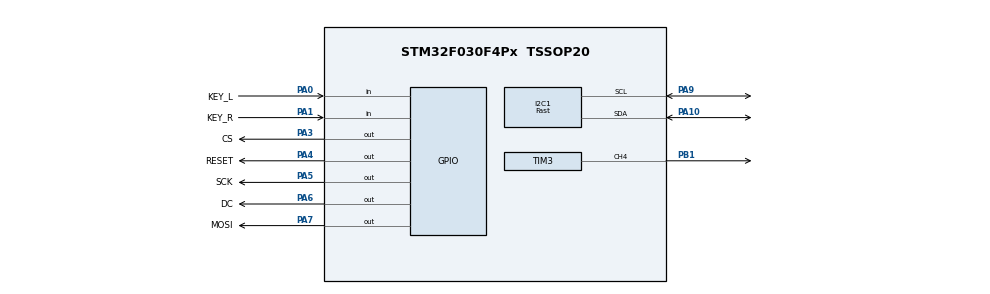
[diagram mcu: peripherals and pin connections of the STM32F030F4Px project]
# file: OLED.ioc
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I2C1.I2C_Speed_Mode=I2C_Fast
I2C1.OwnAddress=0x3D<<1
I2C1.Timing=0x0000020B
Mcu.Family=STM32F0
Mcu.Name=STM32F030F4Px
Mcu.Package=TSSOP20
NVIC.I2C1_IRQn=true\:0\:0\:false\:false\:true\:true\:true\:true
PA0.GPIO_Label=KEY_L
PA0.Signal=GPIO_Input
PA1.GPIO_Label=KEY_R
PA1.Signal=GPIO_Input
PA10.Mode=I2C
PA10.Signal=I2C1_SDA
PA13.Mode=Serial_Wire
PA13.Signal=SYS_SWDIO
PA14.Mode=Serial_Wire
PA14.Signal=SYS_SWCLK
PA3.GPIO_Label=CS
PA3.Signal=GPIO_Output
PA4.GPIO_Label=RESET
PA4.GPIO_Speed=GPIO_SPEED_FREQ_HIGH
PA4.Signal=GPIO_Output
PA5.GPIO_Label=SCK
PA5.GPIO_Speed=GPIO_SPEED_FREQ_HIGH
PA5.Signal=GPIO_Output
PA6.GPIO_Label=DC
PA6.GPIO_Speed=GPIO_SPEED_FREQ_HIGH
PA6.Signal=GPIO_Output
PA7.GPIO_Label=MOSI
PA7.GPIO_Speed=GPIO_SPEED_FREQ_HIGH
PA7.Signal=GPIO_Output
PA9.Mode=I2C
PA9.Signal=I2C1_SCL
PB1.Signal=S_TIM3_CH4
ProjectManager.HeapSize=0x200
ProjectManager.StackSize=0x400
ProjectManager.TargetToolchain=MDK-ARM V5
RCC.AHBFreq_Value=48000000
RCC.APB1Freq_Value=48000000
RCC.APB1TimFreq_Value=48000000
RCC.HCLKFreq_Value=48000000
RCC.PLLMUL=RCC_PLL_MUL12
RCC.SYSCLKFreq_VALUE=48000000
RCC.SYSCLKSource=RCC_SYSCLKSOURCE_PLLCLK
SH.S_TIM3_CH4.0=TIM3_CH4,PWM Generation4 CH4
TIM3.AutoReloadPreload=TIM_AUTORELOAD_PRELOAD_ENABLE
TIM3.Channel-PWM\ Generation4\ CH4=TIM_CHANNEL_4
TIM3.Period=250
TIM3.Prescaler=48-1
board=custom

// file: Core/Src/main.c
/* USER CODE BEGIN Header */
/**
  ******************************************************************************
  * @file           : main.c
  * @brief          : Main program body
  ******************************************************************************
  * @attention
  *
  * Copyright (c) 2022 STMicroelectronics.
  * All rights reserved.
  *
  * This software is licensed under terms that can be found in the LICENSE file
  * in the root directory of this software component.
  * If no LICENSE file comes with this software, it is provided AS-IS.
  *
  ******************************************************************************
  */
/* USER CODE END Header */
#include "main.h"

/* USER CODE BEGIN Includes */
#include "i2c_ex.h"
#include "oled.h"
#include <string.h>
/* USER CODE END Includes */

/* USER CODE BEGIN PTD */
typedef struct {
  uint8_t pos_x;      // stack space top
  uint8_t pos_y;    // stack space limit
  uint8_t size;          // current stack pointer
  uint8_t mode;          // current stack pointer
} draw_text_option_t;
typedef struct {
  uint8_t pos_x;      // stack space top
  uint8_t pos_y;    // stack space limit
  uint8_t mode;          // current stack pointer
} draw_point_option_t;
typedef struct {
  uint8_t pos_x1;      // stack space top
  uint8_t pos_y1;    // stack space limit
  uint8_t pos_x2;
  uint8_t pos_y2;
  uint8_t mode;          // current stack pointer
} draw_line_option_t;
typedef struct {
  uint8_t pos_x;      // stack space top
  uint8_t pos_y;    // stack space limit
  uint8_t radius;          // current stack pointer
  uint8_t mode;          // current stack pointer
} draw_circle_option_t;
typedef struct {
  uint8_t pos_x;      // stack space top
  uint8_t pos_y;    // stack space limit
  uint8_t size_x;      // stack space top
  uint8_t size_y;    // stack space limit
  uint8_t mode;          // current stack pointer
} draw_picture_option_t;
/* USER CODE END PTD */

/* USER CODE BEGIN PD */
#define FIRMWARE_VERSION 3
#define BUTTON_FILTER 500
#define BUTTON_FILTER_TIMEROUT BUTTON_FILTER*3
#define APPLICATION_ADDRESS     ((uint32_t)0x08001000)
/* USER CODE END PD */

I2C_HandleTypeDef hi2c1;

/* USER CODE BEGIN PV */
volatile uint8_t fm_version = FIRMWARE_VERSION;
draw_text_option_t draw_text_para;
draw_point_option_t draw_point_para;
draw_line_option_t draw_line_para;
draw_circle_option_t draw_circle_para;
draw_picture_option_t draw_picture_para;
uint8_t invert_status = 0;
uint8_t color_invert_status = 0;
uint8_t display_on_off_status = 1;
uint8_t string_buffer[64] = {0};
uint8_t picture_buffer[1088] = {0};
uint8_t oled_clear_flag = 0;
uint8_t oled_show_flag = 0;
uint8_t oled_set_string_flag = 0;
//buzz mannual control
volatile uint16_t buzz_freq = 0;
volatile uint8_t buzz_duty = 0;
volatile uint8_t buzz_manual_flag = 0;
volatile uint8_t buzz_enable = 0;

volatile uint8_t key_l_status = 0;
volatile uint8_t key_r_status = 0;
/* USER CODE END PV */

void SystemClock_Config(void);
static void MX_GPIO_Init(void);
static void MX_I2C1_Init(void);
static void MX_TIM3_Init(void);

/* USER CODE BEGIN 0 */
void IAP_Set()
{
	uint8_t i;

	uint32_t *pVecTab=(uint32_t *)(0x20000000);
	//复制中断向量表到SRAM首地址
	for(i = 0; i < 48; i++)
	{
		*(pVecTab++) = *(__IO uint32_t*)(APPLICATION_ADDRESS + (i<<2));
	}
  /* Enable the SYSCFG peripheral clock*/
#if 1 //STM32
  __HAL_RCC_SYSCFG_CLK_ENABLE();
  //重映射 SRAM 地址到 0x00000000
  __HAL_SYSCFG_REMAPMEMORY_SRAM();
#else //AMP32
    RCM_EnableAPB2PeriphClock(RCM_APB2_PERIPH_SYSCFG);
    /* Remap SRAM at 0x00000000 */
    SYSCFG->CFG1_B.MMSEL = SYSCFG_MemoryRemap_SRAM;
#endif
}

uint8_t read_button_status(uint16_t pin)
{
  uint8_t button_status = 0;
  uint8_t last_button_status = 0;
  uint16_t counter = 0;

  last_button_status = HAL_GPIO_ReadPin(GPIOA,pin);
  for (uint16_t i = 0; i < BUTTON_FILTER_TIMEROUT; i++) {
    button_status = HAL_GPIO_ReadPin(GPIOA,pin);
    if (button_status == last_button_status) {
      counter++;
    }
    else {
      last_button_status = button_status;
      counter = 0;
    }
    if (counter >= BUTTON_FILTER) {
      return button_status;
    }
  }
  //TODO: Just for debug
  return 1;
}

void set_pwm(uint16_t freq, uint8_t duty)
{
  if (freq > 10000)
    return;
  uint32_t period, pulse;
  period = 1000000 / freq;
  pulse = (uint32_t)((float)duty/255.0f*period);
  LL_TIM_SetAutoReload(TIM3, period);
  LL_TIM_OC_SetCompareCH4(TIM3, pulse);
  // user_tim3_init(period, pulse);
}

void i2c1_receive_callback(uint8_t *rx_data, uint16_t len)
{
  uint8_t rx_buf[16];
  uint8_t tx_buf[16];
  uint8_t rx_mark[16] = {0};
  uint16_t buffer_index = 0;

  if (len > 1) {
    if (rx_data[0] == 0x00) {
      if ((rx_data[1] & 1) == 1) {
        oled_clear_flag = 1;
      }
    }
    else if (rx_data[0] == 0x10) {
      if ((rx_data[1] & 1) == 1) {
        oled_show_flag = 1;
      }
    }
    else if ((rx_data[0] >= 0x20) && (rx_data[0] <= 0x23)) {
      for(int i = 0; i < len - 1; i++) {
        rx_buf[rx_data[0]-0x20+i] = rx_data[1+i];
        rx_mark[rx_data[0]-0x20+i] = 1;
      }
      if (rx_mark[0]) {
        draw_text_para.pos_x = rx_buf[0];
      }
      if (rx_mark[1]) {
        draw_text_para.pos_y = rx_buf[1];
      }
      if (rx_mark[2]) {
        draw_text_para.size = rx_buf[2];
      }
      if (rx_mark[3]) {
        draw_text_para.mode = rx_buf[3];
      }
      oled_set_string_flag = 1;
    }
    else if ((rx_data[0] >= 0x30) && (rx_data[0] <= 0x32)) {
      for(int i = 0; i < len - 1; i++) {
        rx_buf[rx_data[0]-0x30+i] = rx_data[1+i];
        rx_mark[rx_data[0]-0x30+i] = 1;
      }
      if (rx_mark[0]) {
        draw_point_para.pos_x = rx_buf[0];
      }
      if (rx_mark[1]) {
        draw_point_para.pos_y = rx_buf[1];
      }
      if (rx_mark[2]) {
        draw_point_para.mode = rx_buf[2];
      }
      OLED_DrawPoint(draw_point_para.pos_x, draw_point_para.pos_y, draw_point_para.mode);
    }
    else if ((rx_data[0] >= 0x40) && (rx_data[0] <= 0x44)) {
      for(int i = 0; i < len - 1; i++) {
        rx_buf[rx_data[0]-0x40+i] = rx_data[1+i];
        rx_mark[rx_data[0]-0x40+i] = 1;
      }
      if (rx_mark[0]) {
        draw_line_para.pos_x1 = rx_buf[0];
      }
      if (rx_mark[1]) {
        draw_line_para.pos_y1 = rx_buf[1];
      }
      if (rx_mark[2]) {
        draw_line_para.pos_x2 = rx_buf[2];
      }
      if (rx_mark[3]) {
        draw_line_para.pos_y2 = rx_buf[3];
      }
      if (rx_mark[4]) {
        draw_line_para.mode = rx_buf[4];
      }
      OLED_DrawLine(draw_line_para.pos_x1, draw_line_para.pos_y1,
      draw_line_para.pos_x2, draw_line_para.pos_y2, draw_line_para.mode);
    }
    else if ((rx_data[0] >= 0x50) && (rx_data[0] <= 0x53)) {
      for(int i = 0; i < len - 1; i++) {
        rx_buf[rx_data[0]-0x50+i] = rx_data[1+i];
        rx_mark[rx_data[0]-0x50+i] = 1;
      }
      if (rx_mark[0]) {
        draw_circle_para.pos_x = rx_buf[0];
      }
      if (rx_mark[1]) {
        draw_circle_para.pos_y = rx_buf[1];
      }
      if (rx_mark[2]) {
        draw_circle_para.radius = rx_buf[2];
      }
      if (rx_mark[3]) {
        if (rx_buf[3])
          draw_circle_para.mode = 1;
        else
          draw_circle_para.mode = 0;
      }
      OLED_DrawCircle(draw_circle_para.pos_x, draw_circle_para.pos_y, draw_circle_para.radius, draw_circle_para.mode);
    }
    else if (rx_data[0] == 0x60) {
      if (rx_data[1] <= 3) {
        invert_status = rx_data[1];
        OLED_DisplayTurn(invert_status);
      }
    }
    else if (rx_data[0] == 0x70) {
      if ((rx_data[1] & 1) == 1) {
        display_on_off_status = 1;
        OLED_DisPlay_On();
      } else {
        display_on_off_status = 0;
        OLED_DisPlay_Off();
      }
    }
    else if ((rx_data[0] >= 0x80) && (rx_data[0] <= 0x82)) {
      for(int i = 0; i < len - 1; i++) {
        rx_buf[rx_data[0]-0x80+i] = rx_data[1+i];
        rx_mark[rx_data[0]-0x80+i] = 1;
      }
      if (rx_mark[0] && rx_mark[1]) {
        buffer_index = (rx_buf[0] | (rx_buf[1] << 8));
      }
      if (buffer_index == 0) {
        memset(string_buffer, 0, sizeof(string_buffer));
      }
      if (rx_mark[2]) {
        if (buffer_index < 64) {
          string_buffer[buffer_index] = rx_buf[2];
        }
      }
    }
    else if ((rx_data[0] >= 0x90) && (rx_data[0] <= 0x92)) {
      for(int i = 0; i < len - 1; i++) {
        rx_buf[rx_data[0]-0x90+i] = rx_data[1+i];
        rx_mark[rx_data[0]-0x90+i] = 1;
      }
      if (rx_mark[0] && rx_mark[1]) {
        buffer_index = (rx_buf[0] | (rx_buf[1] << 8));
      }
      if (buffer_index == 0) {
        memset(picture_buffer, 0, sizeof(picture_buffer));
      }
      if (rx_mark[2]) {
        if (buffer_index < 1088) {
          picture_buffer[buffer_index] = rx_buf[2];
        }
      }
    }
    else if (rx_data[0] == 0xA0) {
      if ((rx_data[1] & 1) == 1) {
        color_invert_status = 1;
        OLED_ColorTurn(1);
      } else {
        color_invert_status = 0;
        OLED_ColorTurn(0);
      }
    }
    else if ((rx_data[0] >= 0xB0) && (rx_data[0] <= 0xB4)) {
      for(int i = 0; i < len - 1; i++) {
        rx_buf[rx_data[0]-0xB0+i] = rx_data[1+i];
        rx_mark[rx_data[0]-0xB0+i] = 1;
      }
      if (rx_mark[0]) {
        draw_picture_para.pos_x = rx_buf[0];
      }
      if (rx_mark[1]) {
        draw_picture_para.pos_y = rx_buf[1];
      }
      if (rx_mark[2]) {
        draw_picture_para.size_x = rx_buf[2];
      }
      if (rx_mark[3]) {
        draw_picture_para.size_y = rx_buf[3];
      }
      if (rx_mark[4]) {
        draw_picture_para.mode = rx_buf[4];
      }
      OLED_ShowPicture(draw_picture_para.pos_x, draw_picture_para.pos_y,
      draw_picture_para.size_x, draw_picture_para.size_y, picture_buffer, draw_picture_para.mode);
    }
    else if ((rx_data[0] >= 0xC0) && (rx_data[0] <= 0xC3))
    {
      if (len <= 5) {
        for(int i = 0; i < len - 1; i++) {
          rx_buf[rx_data[0]-0xC0+i] = rx_data[1+i];
          rx_mark[rx_data[0]-0xC0+i] = 1;
        }
        if (rx_mark[0] && rx_mark[1]) {
          buzz_freq = (rx_buf[0] | (rx_buf[1] << 8));
        }
        if (rx_mark[2]) {
          buzz_duty = rx_buf[2];
        }
        if (rx_mark[3]) {

          buzz_enable = rx_buf[3];
          if (buzz_enable) {
            set_pwm(buzz_freq, buzz_duty);
            LL_TIM_CC_EnableChannel(TIM3,LL_TIM_CHANNEL_CH4);
            LL_TIM_EnableCounter(TIM3);
            LL_TIM_EnableAllOutputs(TIM3);
            buzz_manual_flag = 1;
          } else {
            LL_TIM_CC_DisableChannel(TIM3,LL_TIM_CHANNEL_CH4);
            LL_TIM_DisableCounter(TIM3);
            LL_TIM_DisableAllOutputs(TIM3);
            buzz_manual_flag = 0;
          }
        }
      }
    }
  } else if (len == 1) {
    if (rx_data[0] == 0xD0)
    {
      key_l_status = read_button_status(KEY_L_Pin);
      i2c1_set_send_data((uint8_t *)&key_l_status, 1);
    }
    else if (rx_data[0] == 0xD1)
    {
      key_r_status = read_button_status(KEY_R_Pin);
      i2c1_set_send_data((uint8_t *)&key_r_status, 1);
    }
    else if (rx_data[0] == 0xFE)
    {
      i2c1_set_send_data((uint8_t *)&fm_version, 1);
    }
  }
}
/* USER CODE END 0 */

int main(void)
{
  /* USER CODE BEGIN 1 */
  IAP_Set();
  /* USER CODE END 1 */

  /* MCU Configuration--------------------------------------------------------*/

  /* Reset of all peripherals, Initializes the Flash interface and the Systick. */
  HAL_Init();

  /* Configure the system clock */
  SystemClock_Config();

  /* Initialize all configured peripherals */
  MX_GPIO_Init();
  MX_I2C1_Init();
  MX_TIM3_Init();
  /* USER CODE BEGIN 2 */
  OLED_Init();
  // OLED_DisPlay_Off();
  // HAL_Delay(1000);
  OLED_ColorTurn(0);//0正常显示，1 反色显示
	OLED_DisplayTurn(0);//0正常显示 1 屏幕翻转显示
  // set_i2c_slave_address(0x3D);
  // i2c1_it_enable();
  HAL_I2C_EnableListen_IT(&hi2c1);
  // string_buffer[0] = 'h';
  // string_buffer[1] = 'e';
  // string_buffer[2] = 'l';
  // string_buffer[3] = 'l';
  // string_buffer[4] = 'o';
  // OLED_DisplayTurn(0);
  // OLED_ColorTurn(0);
  // OLED_DisPlay_On();
  // OLED_Clear();
  // OLED_Refresh();
  /* USER CODE END 2 */

  /* Infinite loop */
  /* USER CODE BEGIN WHILE */
  while (1)
  {
    if (oled_clear_flag) {
      // LL_I2C_DisableIT_ADDR(I2C1);
      OLED_Clear();
      oled_clear_flag = 0;
      // LL_I2C_EnableIT_ADDR(I2C1);
    } else if (oled_set_string_flag){
      OLED_ShowString(draw_text_para.pos_x, draw_text_para.pos_y, string_buffer, draw_text_para.size, draw_text_para.mode);
      oled_set_string_flag = 0;
    } else if (oled_show_flag) {
      // LL_I2C_DisableIT_ADDR(I2C1);
      OLED_Refresh();
      oled_show_flag = 0;
      // LL_I2C_EnableIT_ADDR(I2C1);
    }
    /* USER CODE END WHILE */

  }
}

void SystemClock_Config(void)
{
  LL_FLASH_SetLatency(LL_FLASH_LATENCY_1);
  while(LL_FLASH_GetLatency() != LL_FLASH_LATENCY_1)
  {
  }
  LL_RCC_HSI_Enable();

   /* Wait till HSI is ready */
  while(LL_RCC_HSI_IsReady() != 1)
  {

  }
  LL_RCC_HSI_SetCalibTrimming(16);
  LL_RCC_PLL_ConfigDomain_SYS(LL_RCC_PLLSOURCE_HSI_DIV_2, LL_RCC_PLL_MUL_12);
  LL_RCC_PLL_Enable();

   /* Wait till PLL is ready */
  while(LL_RCC_PLL_IsReady() != 1)
  {

  }
  LL_RCC_SetAHBPrescaler(LL_RCC_SYSCLK_DIV_1);
  LL_RCC_SetAPB1Prescaler(LL_RCC_APB1_DIV_1);
  LL_RCC_SetSysClkSource(LL_RCC_SYS_CLKSOURCE_PLL);

   /* Wait till System clock is ready */
  while(LL_RCC_GetSysClkSource() != LL_RCC_SYS_CLKSOURCE_STATUS_PLL)
  {

  }
  LL_SetSystemCoreClock(48000000);

   /* Update the time base */
  if (HAL_InitTick (TICK_INT_PRIORITY) != HAL_OK)
  {
    Error_Handler();
  }
  LL_RCC_SetI2CClockSource(LL_RCC_I2C1_CLKSOURCE_HSI);
}

static void MX_I2C1_Init(void)
{

  hi2c1.Instance = I2C1;
  hi2c1.Init.Timing = 0x0000020B;
  hi2c1.Init.OwnAddress1 = 0x3D<<1;
  hi2c1.Init.AddressingMode = I2C_ADDRESSINGMODE_7BIT;
  hi2c1.Init.DualAddressMode = I2C_DUALADDRESS_DISABLE;
  hi2c1.Init.OwnAddress2 = 0;
  hi2c1.Init.OwnAddress2Masks = I2C_OA2_NOMASK;
  hi2c1.Init.GeneralCallMode = I2C_GENERALCALL_DISABLE;
  hi2c1.Init.NoStretchMode = I2C_NOSTRETCH_DISABLE;
  if (HAL_I2C_Init(&hi2c1) != HAL_OK)
  {
    Error_Handler();
  }

  /** Configure Analogue filter
  */
  if (HAL_I2CEx_ConfigAnalogFilter(&hi2c1, I2C_ANALOGFILTER_ENABLE) != HAL_OK)
  {
    Error_Handler();
  }

  /** Configure Digital filter
  */
  if (HAL_I2CEx_ConfigDigitalFilter(&hi2c1, 0) != HAL_OK)
  {
    Error_Handler();
  }

}

static void MX_TIM3_Init(void)
{

  LL_TIM_InitTypeDef TIM_InitStruct = {0};
  LL_TIM_OC_InitTypeDef TIM_OC_InitStruct = {0};

  LL_GPIO_InitTypeDef GPIO_InitStruct = {0};

  /* Peripheral clock enable */
  LL_APB1_GRP1_EnableClock(LL_APB1_GRP1_PERIPH_TIM3);

  TIM_InitStruct.Prescaler = 48-LL_TIM_IC_FILTER_FDIV1_N2;
  TIM_InitStruct.CounterMode = LL_TIM_COUNTERMODE_UP;
  TIM_InitStruct.Autoreload = 250;
  TIM_InitStruct.ClockDivision = LL_TIM_CLOCKDIVISION_DIV1;
  LL_TIM_Init(TIM3, &TIM_InitStruct);
  LL_TIM_EnableARRPreload(TIM3);
  LL_TIM_OC_EnablePreload(TIM3, LL_TIM_CHANNEL_CH4);
  TIM_OC_InitStruct.OCMode = LL_TIM_OCMODE_PWM1;
  TIM_OC_InitStruct.OCState = LL_TIM_OCSTATE_DISABLE;
  TIM_OC_InitStruct.OCNState = LL_TIM_OCSTATE_DISABLE;
  TIM_OC_InitStruct.CompareValue = 0;
  TIM_OC_InitStruct.OCPolarity = LL_TIM_OCPOLARITY_HIGH;
  LL_TIM_OC_Init(TIM3, LL_TIM_CHANNEL_CH4, &TIM_OC_InitStruct);
  LL_TIM_OC_DisableFast(TIM3, LL_TIM_CHANNEL_CH4);
  LL_TIM_SetTriggerOutput(TIM3, LL_TIM_TRGO_RESET);
  LL_TIM_DisableMasterSlaveMode(TIM3);
  LL_AHB1_GRP1_EnableClock(LL_AHB1_GRP1_PERIPH_GPIOB);
  /**TIM3 GPIO Configuration
  PB1   ------> TIM3_CH4
  */
  GPIO_InitStruct.Pin = LL_GPIO_PIN_1;
  GPIO_InitStruct.Mode = LL_GPIO_MODE_ALTERNATE;
  GPIO_InitStruct.Speed = LL_GPIO_SPEED_FREQ_LOW;
  GPIO_InitStruct.OutputType = LL_GPIO_OUTPUT_PUSHPULL;
  GPIO_InitStruct.Pull = LL_GPIO_PULL_NO;
  GPIO_InitStruct.Alternate = LL_GPIO_AF_1;
  LL_GPIO_Init(GPIOB, &GPIO_InitStruct);

}

static void MX_GPIO_Init(void)
{
  GPIO_InitTypeDef GPIO_InitStruct = {0};

  /* GPIO Ports Clock Enable */
  __HAL_RCC_GPIOA_CLK_ENABLE();
  __HAL_RCC_GPIOB_CLK_ENABLE();

  /*Configure GPIO pin Output Level */
  HAL_GPIO_WritePin(GPIOA, CS_Pin|RESET_Pin|SCK_Pin|DC_Pin
                          |MOSI_Pin, GPIO_PIN_RESET);

  /*Configure GPIO pins : KEY_L_Pin KEY_R_Pin */
  GPIO_InitStruct.Pin = KEY_L_Pin|KEY_R_Pin;
  GPIO_InitStruct.Mode = GPIO_MODE_INPUT;
  GPIO_InitStruct.Pull = GPIO_NOPULL;
  HAL_GPIO_Init(GPIOA, &GPIO_InitStruct);

  /*Configure GPIO pin : CS_Pin */
  GPIO_InitStruct.Pin = CS_Pin;
  GPIO_InitStruct.Mode = GPIO_MODE_OUTPUT_PP;
  GPIO_InitStruct.Pull = GPIO_NOPULL;
  GPIO_InitStruct.Speed = GPIO_SPEED_FREQ_LOW;
  HAL_GPIO_Init(CS_GPIO_Port, &GPIO_InitStruct);

  /*Configure GPIO pins : RESET_Pin SCK_Pin DC_Pin MOSI_Pin */
  GPIO_InitStruct.Pin = RESET_Pin|SCK_Pin|DC_Pin|MOSI_Pin;
  GPIO_InitStruct.Mode = GPIO_MODE_OUTPUT_PP;
  GPIO_InitStruct.Pull = GPIO_NOPULL;
  GPIO_InitStruct.Speed = GPIO_SPEED_FREQ_HIGH;
  HAL_GPIO_Init(GPIOA, &GPIO_InitStruct);

}

void Error_Handler(void)
{
  __disable_irq();
  while (1)
  {
  }
}
